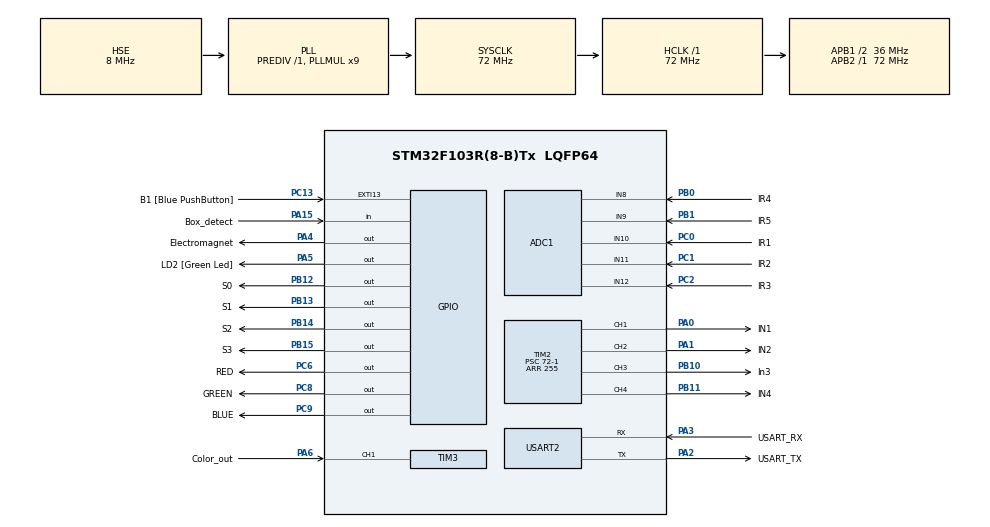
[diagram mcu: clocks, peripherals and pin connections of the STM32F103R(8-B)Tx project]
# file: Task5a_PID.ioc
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ADC1.Channel-0\#ChannelRegularConversion=ADC_CHANNEL_10
ADC1.Channel-1\#ChannelRegularConversion=ADC_CHANNEL_11
ADC1.Channel-2\#ChannelRegularConversion=ADC_CHANNEL_12
ADC1.Channel-3\#ChannelRegularConversion=ADC_CHANNEL_8
ADC1.Channel-4\#ChannelRegularConversion=ADC_CHANNEL_9
ADC1.ContinuousConvMode=ENABLE
ADC1.NbrOfConversion=5
ADC1.NbrOfConversionFlag=1
ADC1.Rank-0\#ChannelRegularConversion=1
ADC1.Rank-1\#ChannelRegularConversion=2
ADC1.Rank-2\#ChannelRegularConversion=3
ADC1.Rank-3\#ChannelRegularConversion=4
ADC1.Rank-4\#ChannelRegularConversion=5
ADC1.SamplingTime-0\#ChannelRegularConversion=ADC_SAMPLETIME_55CYCLES_5
ADC1.SamplingTime-1\#ChannelRegularConversion=ADC_SAMPLETIME_55CYCLES_5
ADC1.SamplingTime-2\#ChannelRegularConversion=ADC_SAMPLETIME_55CYCLES_5
ADC1.SamplingTime-3\#ChannelRegularConversion=ADC_SAMPLETIME_55CYCLES_5
ADC1.SamplingTime-4\#ChannelRegularConversion=ADC_SAMPLETIME_55CYCLES_5
ADC1.master=1
Dma.ADC1.0.Direction=DMA_PERIPH_TO_MEMORY
Dma.ADC1.0.Instance=DMA1_Channel1
Dma.ADC1.0.MemDataAlignment=DMA_MDATAALIGN_HALFWORD
Dma.ADC1.0.MemInc=DMA_MINC_ENABLE
Dma.ADC1.0.Mode=DMA_CIRCULAR
Dma.ADC1.0.PeriphDataAlignment=DMA_PDATAALIGN_HALFWORD
Dma.ADC1.0.PeriphInc=DMA_PINC_DISABLE
Dma.ADC1.0.Priority=DMA_PRIORITY_LOW
Dma.Request0=ADC1
Mcu.Family=STM32F1
Mcu.Name=STM32F103R(8-B)Tx
Mcu.Package=LQFP64
NVIC.ADC1_2_IRQn=true\:0\:0\:false\:false\:true\:true\:true\:true
NVIC.DMA1_Channel1_IRQn=true\:0\:0\:false\:false\:true\:false\:true\:true
NVIC.EXTI15_10_IRQn=true\:0\:0\:false\:false\:true\:true\:true\:true
NVIC.PriorityGroup=NVIC_PRIORITYGROUP_4
NVIC.TIM3_IRQn=true\:0\:0\:false\:false\:true\:true\:true\:true
PA0-WKUP.GPIO_Label=IN1
PA0-WKUP.Signal=S_TIM2_CH1_ETR
PA1.GPIO_Label=IN2
PA1.Signal=S_TIM2_CH2
PA13.GPIO_Label=TMS
PA13.Mode=Serial_Wire
PA13.Signal=SYS_JTMS-SWDIO
PA14.GPIO_Label=TCK
PA14.Mode=Serial_Wire
PA14.Signal=SYS_JTCK-SWCLK
PA15.GPIO_Label=Box_detect
PA15.Signal=GPIO_Input
PA2.GPIO_Label=USART_TX
PA2.GPIO_Mode=GPIO_MODE_AF_PP
PA2.GPIO_PuPd=GPIO_NOPULL
PA2.GPIO_Speed=GPIO_SPEED_FREQ_LOW
PA2.Mode=Asynchronous
PA2.Signal=USART2_TX
PA3.GPIO_Label=USART_RX
PA3.GPIO_Mode=GPIO_MODE_AF_PP
PA3.GPIO_PuPd=GPIO_NOPULL
PA3.GPIO_Speed=GPIO_SPEED_FREQ_LOW
PA3.Mode=Asynchronous
PA3.Signal=USART2_RX
PA4.GPIO_Label=Electromagnet
PA4.Signal=GPIO_Output
PA5.GPIO_Label=LD2 [Green Led]
PA5.GPIO_ModeDefaultOutputPP=GPIO_MODE_OUTPUT_PP
PA5.GPIO_PuPd=GPIO_NOPULL
PA5.GPIO_Speed=GPIO_SPEED_FREQ_LOW
PA5.Signal=GPIO_Output
PA6.GPIO_Label=Color_out
PA6.Signal=S_TIM3_CH1
PB0.GPIO_Label=IR4
PB0.Signal=ADCx_IN8
PB1.GPIO_Label=IR5
PB1.Signal=ADCx_IN9
PB10.GPIO_Label=In3
PB10.Signal=S_TIM2_CH3
PB11.GPIO_Label=IN4
PB11.Signal=S_TIM2_CH4
PB12.GPIO_Label=S0
PB12.Signal=GPIO_Output
PB13.GPIO_Label=S1
PB13.Signal=GPIO_Output
PB14.GPIO_Label=S2
PB14.Signal=GPIO_Output
PB15.GPIO_Label=S3
PB15.Signal=GPIO_Output
PB3.GPIO_Label=SWO
PB3.Signal=SYS_JTDO-TRACESWO
PC0.GPIO_Label=IR1
PC0.Signal=ADCx_IN10
PC1.GPIO_Label=IR2
PC1.Signal=ADCx_IN11
PC13-TAMPER-RTC.GPIO_Label=B1 [Blue PushButton]
PC13-TAMPER-RTC.GPIO_PuPd=GPIO_NOPULL
PC13-TAMPER-RTC.Signal=GPXTI13
PC14-OSC32_IN.Mode=LSE-External-Oscillator
PC14-OSC32_IN.Signal=RCC_OSC32_IN
PC15-OSC32_OUT.Mode=LSE-External-Oscillator
PC15-OSC32_OUT.Signal=RCC_OSC32_OUT
PC2.GPIO_Label=IR3
PC2.Signal=ADCx_IN12
PC6.GPIO_Label=RED
PC6.Signal=GPIO_Output
PC8.GPIO_Label=GREEN
PC8.Signal=GPIO_Output
PC9.GPIO_Label=BLUE
PC9.Signal=GPIO_Output
PD0-OSC_IN.Mode=HSE-External-Clock-Source
PD0-OSC_IN.Signal=RCC_OSC_IN
PD1-OSC_OUT.Mode=HSE-External-Clock-Source
PD1-OSC_OUT.Signal=RCC_OSC_OUT
ProjectManager.HeapSize=0x200
ProjectManager.StackSize=0x400
ProjectManager.TargetToolchain=STM32CubeIDE
RCC.ADCPresc=RCC_ADCPCLK2_DIV6
RCC.AHBFreq_Value=72000000
RCC.APB1CLKDivider=RCC_HCLK_DIV2
RCC.APB1Freq_Value=36000000
RCC.APB1TimFreq_Value=72000000
RCC.APB2Freq_Value=72000000
RCC.APB2TimFreq_Value=72000000
RCC.HCLKFreq_Value=72000000
RCC.PLLMUL=RCC_PLL_MUL9
RCC.PLLSourceVirtual=RCC_PLLSOURCE_HSE
RCC.RTCClockSelection=RCC_RTCCLKSOURCE_LSE
RCC.SYSCLKFreq_VALUE=72000000
RCC.SYSCLKSource=RCC_SYSCLKSOURCE_PLLCLK
RCC.USBFreq_Value=72000000
SH.ADCx_IN10.0=ADC1_IN10,IN10
SH.ADCx_IN11.0=ADC1_IN11,IN11
SH.ADCx_IN12.0=ADC1_IN12,IN12
SH.ADCx_IN8.0=ADC1_IN8,IN8
SH.ADCx_IN9.0=ADC1_IN9,IN9
SH.S_TIM2_CH1_ETR.0=TIM2_CH1,PWM Generation1 CH1
SH.S_TIM2_CH2.0=TIM2_CH2,PWM Generation2 CH2
SH.S_TIM2_CH3.0=TIM2_CH3,PWM Generation3 CH3
SH.S_TIM2_CH4.0=TIM2_CH4,PWM Generation4 CH4
SH.S_TIM3_CH1.0=TIM3_CH1,Input_Capture1_from_TI1
TIM2.Channel-PWM\ Generation1\ CH1=TIM_CHANNEL_1
TIM2.Channel-PWM\ Generation2\ CH2=TIM_CHANNEL_2
TIM2.Channel-PWM\ Generation3\ CH3=TIM_CHANNEL_3
TIM2.Channel-PWM\ Generation4\ CH4=TIM_CHANNEL_4
TIM2.Period=255
TIM2.Prescaler=72-1
TIM3.Channel-Input_Capture1_from_TI1=TIM_CHANNEL_1
USART2.VirtualMode=VM_ASYNC
board=NUCLEO-F103RB

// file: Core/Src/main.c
/* USER CODE BEGIN Header */
/**
 ******************************************************************************
 * @file : main.c
 * @brief : Main program body
 ******************************************************************************
 * @attention
 *
 * Copyright (c) 2026 STMicroelectronics.
 * All rights reserved.
 *
 * This software is licensed under terms that can be found in the LICENSE file
 * in the root directory of this software component.
 * If no LICENSE file comes with this software, it is provided AS-IS.
 *
 ******************************************************************************
 */
/* USER CODE END Header */

#include "main.h"

/* USER CODE BEGIN Includes */
#include "Color.h"
#include <math.h>
#include <stdbool.h>
#include <stdint.h>
#include <stdio.h>
#include <stdlib.h>
#include <string.h>

/* USER CODE END Includes */
#include "q_table10.h"

/* USER CODE BEGIN PTD */
typedef struct {
    int n_states;
    int n_actions;
    float lr;
    float gamma;
    float epsilon_start;
    float epsilon_min;
    float epsilon_decay;
    float epsilon;
    char* filename;
    float q_table[6][7];
    int action_list[7];
    float last_direction;
    int no_line_count;
    int stop_threshold;
    float prev_error;
    float smooth_error;
    float error_smoothing_alpha;
    float current_error;
    float error_sign;
    int prev_state;  // Added for dotted line continuity if needed
} QLearningController;

/* Private typedef -----------------------------------------------------------*/
/* USER CODE BEGIN PTD */
typedef enum {
  STATE_SEARCH_1,
  STATE_RETURN_1,
  STATE_BRANCH_OUT_1, // Navigate branch for Box 1
  STATE_BRANCH_RET_1, // Return from branch for Box 1
  STATE_TRANSITION_TO_SOURCE,
  STATE_SEARCH_2,
  STATE_RETURN_2,
  STATE_BRANCH_OUT_2, // Navigate branch for Box 2
  STATE_DONE
} RobotState;

typedef enum { BOX_NONE = 0, BOX_RED, BOX_GREEN, BOX_BLUE } InternalBoxColor;
/* USER CODE END PTD */

/* USER CODE BEGIN PD */
// PID Gains for Black Line on White Surface (BL mode)
#define KP 50.0f // Tuned: Between Snip(22) and Old(35)
#define KI 0.01f
#define KD 52.0f // Tuned: Between Snip(38) and Old(65)

// PID Gains for White Line on Black Surface (WL mode)
#define KP_WL 60.0f
#define KI_WL 0.11f
#define KD_WL 40.0f

// Speed Settings
// Speed Settings
#define BASE_SPEED 22
0    // Targeted for ~15s completion (2x snippet, 0.6x old)
#define BASE_SPEED_WL 140
#define TURN_BASE_SPEED 150
#define MAX_TURN_DIFF 250 // Limit set by User

// Turning Assistance
// (Handled by Mode Logic below)

// Control Loop
#define LOOP_DELAY_MS 1.5 // Faster loop for quicker reaction
#define INTEGRAL_LIMIT 20.0f
#define FILTER_ALPHA 0.5f // Reduced from 0.98 to 0.7 for FASTER response

// --- NEW SEPARATE TURN LOGIC CONSTANTS ---
// Black Line (BL) - Original "Perfect" values
#define SHARP_TURN_THRESH_BL 0.8f // Relaxed to snippet value
#define TURN_BOOST_BL 2.5f        // Reduced from 3.0 for stability
#define HARD_TURN_ERR_BL 0.6f
#define EXTREME_TURN_ERR_BL 1.8f
#define HARD_TURN_ADD_BL 100
#define HARD_TURN_SUB_BL 60
#define EXTREME_TURN_L_BL 220
#define EXTREME_TURN_R_BL -150

// White Line (WL) - Tuned for potentially different dynamics (Start with same,
// adjust here)
#define SHARP_TURN_THRESH_WL 0.8f
#define TURN_BOOST_WL 2.5f
#define HARD_TURN_ERR_WL 0.5f     // React sooner
#define EXTREME_TURN_ERR_WL 1.6f
#define HARD_TURN_ADD_WL 110 // Agreessive turn
#define HARD_TURN_SUB_WL 70
#define EXTREME_TURN_L_WL 230
#define EXTREME_TURN_R_WL -160

// ... (Rest of defines omitted for brevity in replace, but ensuring context
// matches if I can't replace scattered defines) Actually, sticking to the motor
// block replacement is safer if I can't guarantee define locations. I will just
// replace the Motor Logic block and assume I can update defines separately or
// just use literals/locals if needed. Wait, replace_file_content needs exact
// target match. I will update the DEFINES first.

// Line Detection
#define LINE_LOST_THRESHOLD 12.0f
#define BLACK_LINE_THRESH 13.0f

// Mode Switching Constants
#define SURFACE_THRESH 55.0f // Reduced from 80.0 for easier detection
#define MODE_DEBOUNCE_COUNT 15 // Reduced from 50 (400ms) to 12 (~96ms) for FAST switching

// RL Controller Macros
#define NUM_SENSORS 5
#define WHITE_THRESH 0.5f  // Threshold for white (high reflection)
#define FULL_WHITE_THRESH 0.85f
#define NO_LINE_SUM_THRESH 0.3f
#define NO_LINE_MAX_THRESH 0.1f
#define NO_LINE_TOLERANCE 5   // Tolerance for short no-line gaps (dotted lines)
#define BASE_SPEED_SCALE 5.0f  // Scale for PWM conversion

// Toggle between PID and RL (0 = PID, 1 = RL)
#define USE_RL_CONTROL 0

// Calibration 1: White Line on Black Surface (WL)
const uint16_t black_min_WL[5] = {3250, 3250, 3200, 3200, 1450};
const uint16_t white_max_WL[5] = {4095, 4095, 4095, 4095, 4095};

// Calibration 2: Black Line on White Surface (BL)
// Note: User requested separate calibration. Adjust these values for the White
// Surface!
const uint16_t black_min_BL[5] = {3450, 4095, 3680, 3920, 1450};
const uint16_t white_max_BL[5] = {4095, 4095, 4095, 4095, 4095};

const float weights[5] = {-2.0f, -1.0f, 0.0f, 1.0f, 2.0f};

/* USER CODE END PD */

ADC_HandleTypeDef hadc1;
DMA_HandleTypeDef hdma_adc1;

TIM_HandleTypeDef htim2;
TIM_HandleTypeDef htim3;

UART_HandleTypeDef huart2;

/* USER CODE BEGIN PV */
uint16_t adcBuffer[5];
float reflectance[5];
float voltages[5];
float integral = 0.0f;
float prev_error = 0.0f;
float filtered_position = 0.0f;
volatile uint8_t adc_complete = 0;

RobotState current_state = STATE_SEARCH_1;
bool is_black_line_mode = false;
InternalBoxColor picked_color = BOX_NONE;

static float prev_reflect[5] = {0.0f, 0.0f, 0.0f, 0.0f, 0.0f};

QLearningController ql; // Global instance for RL
/* USER CODE END PV */

void SystemClock_Config(void);
static void MX_GPIO_Init(void);
static void MX_DMA_Init(void);
static void MX_USART2_UART_Init(void);
static void MX_ADC1_Init(void);
static void MX_TIM2_Init(void);
static void MX_TIM2_Init(void);
static void MX_TIM3_Init(void);

// RL Function Prototypes
void init_QLearningController(QLearningController *self);
int Get_state(QLearningController *self, float values[NUM_SENSORS]);
int choose_action(QLearningController *self, int state);
void perform_action(int action, float *left_speed, float *right_speed);
/* USER CODE BEGIN PFP */
float NormalizeReflectance(int idx, uint16_t raw, bool is_black_line_mode);
float CalculatePosition(float *den_out, bool black_line);
float ComputePID(float error, float *integral, float *prev_error, float dt,
                 float kp, float ki, float kd);
void SetMotorSpeeds(int16_t left, int16_t right);
char *FloatToString(float value, int precision, char *buffer, int buf_size);
void Check_Surface_Mode(void);
InternalBoxColor Local_Color_Detect(void);
/* USER CODE END PFP */

/* USER CODE BEGIN 0 */
// Reimplement Color Logic Locally to avoid changing Color.h
InternalBoxColor Local_Color_Detect(void) {
  uint32_t r = Color_ReadRed();
  uint32_t g = Color_ReadGreen();
  uint32_t b = Color_ReadBlue();

  uint32_t r_n = r;
  uint32_t g_n = g * 2.9f;  // Same gain as Color.h
  uint32_t b_n = b * 1.99f; // Same gain as Color.h
  int diff = 110;           // Same diff

  // LEDs are manually controlled here if needed, or we rely on Color_Detect()
  // for visual
  Color_Detect();

  if ((r_n > g_n + diff - 100) && (r_n > b_n + diff - 95))
    return BOX_RED;
  else if ((g_n > r_n + diff) && (g_n > b_n + diff))
    return BOX_GREEN;
  else if ((b_n > r_n + diff) && (b_n > g_n + diff))
    return BOX_BLUE;

  return BOX_NONE;
}

float NormalizeReflectance(int idx, uint16_t raw, bool is_black_line_mode) {
  uint16_t min_v, max_v;

  if (is_black_line_mode) {
    // We are on White Surface (following Black Line)
    min_v = black_min_BL[idx];
    max_v = white_max_BL[idx];
  } else {
    // We are on Black Surface (following White Line)
    min_v = black_min_WL[idx];
    max_v = white_max_WL[idx];
  }

  if (raw <= min_v)
    return 0.0f;
  if (raw >= max_v)
    return 100.0f;
  return ((float)(raw - min_v) / (max_v - min_v)) * 100.0f;
}

void Check_Surface_Mode(void) {
  // Use Normalized Reflectance (0 = Black Reading, 100 = White Reading)
  // Average of outer sensors to determine background color
  float outer_avg = (reflectance[0] + reflectance[4]) / 2.0f;

  static uint32_t stable_count = 0;
  static bool potential_mode = false;

  // Logic:
  // If > THRESH (45) : White Surface (Background is White -> Black Line Mode)
  // If <= THRESH (45): Black Surface (Background is Black -> White Line Mode)
  bool detected_is_white_surface = (outer_avg > SURFACE_THRESH);

  // existing mode: is_black_line_mode (True = Black Line on White Surface)

  if (detected_is_white_surface != is_black_line_mode) {
    if (detected_is_white_surface == potential_mode) {
      stable_count++;
      if (stable_count > MODE_DEBOUNCE_COUNT) {
        // MODE CHANGE DETECTED!
        is_black_line_mode = detected_is_white_surface;
        stable_count = 0;

        // CRITICAL: Reset PID Memory so we don't carry error/integral
        integral = 0.0f;
        prev_error = 0.0f;

        // Indicate mode switch (optional flash or just UART)
        // HAL_GPIO_TogglePin(GPIOC, RED_Pin);
      }
    } else {
      potential_mode = detected_is_white_surface;
      stable_count = 0;
    }
  } else {
    stable_count = 0;
  }
}

float CalculatePosition(float *den_out, bool black_line) {
  float num = 0.0f, den = 0.0f;
  for (int i = 0; i < 5; i++) {
    float strength = black_line ? (100.0f - reflectance[i]) : reflectance[i];
    num += strength * weights[i];
    den += strength;
  }
  *den_out = den;

  float raw_pos = (den > 0.0f ? (num / den) : 0.0f);

  if (den < LINE_LOST_THRESHOLD) {
    raw_pos = filtered_position;
  }

  float delta = raw_pos - filtered_position;
  if (fabsf(delta) > 0.5f) {
    raw_pos = filtered_position + (delta > 0 ? 0.5f : -0.5f);
  }

  filtered_position =
      FILTER_ALPHA * filtered_position + (1.0f - FILTER_ALPHA) * raw_pos;
  return filtered_position;
}

void SetMotorSpeeds(int16_t left, int16_t right) {
  if (left < 0) {
    __HAL_TIM_SET_COMPARE(&htim2, TIM_CHANNEL_1, 0);
    __HAL_TIM_SET_COMPARE(&htim2, TIM_CHANNEL_2, (uint8_t)(-left));
  } else {
    __HAL_TIM_SET_COMPARE(&htim2, TIM_CHANNEL_1, (uint8_t)left);
    __HAL_TIM_SET_COMPARE(&htim2, TIM_CHANNEL_2, 0);
  }
  if (right < 0) {
    __HAL_TIM_SET_COMPARE(&htim2, TIM_CHANNEL_3, 0);
    __HAL_TIM_SET_COMPARE(&htim2, TIM_CHANNEL_4, (uint8_t)(-right));
  } else {
    __HAL_TIM_SET_COMPARE(&htim2, TIM_CHANNEL_3, (uint8_t)right);
    __HAL_TIM_SET_COMPARE(&htim2, TIM_CHANNEL_4, 0);
  }
}

char *FloatToString(float value, int precision, char *buffer, int buf_size) {
  if (precision < 0)
    precision = 0;
  if (precision > 6)
    precision = 6;
  bool negative = value < 0.0f;
  if (negative)
    value = -value;
  int int_part = (int)value;
  value -= int_part;
  int frac_part = (int)(value * powf(10.0f, precision) + 0.5f);
  if (negative)
    snprintf(buffer, buf_size, "-%d.%0*d", int_part, precision, frac_part);
  else
    snprintf(buffer, buf_size, "%d.%0*d", int_part, precision, frac_part);
  if (int_part == 0 && frac_part == 0 && negative) {
    buffer[0] = '0';
    buffer[1] = '.';
    for (int i = 0; i < precision; i++)
      buffer[2 + i] = '0';
    buffer[2 + precision] = '\0';
  }
  return buffer;
}

float ComputePID(float error, float *integral, float *prev_error, float dt,
                 float kp, float ki, float kd) {
  if (fabsf(error) > 1.5f)
    *integral = 0.0f;
  *integral += error * dt;
  if (*integral > INTEGRAL_LIMIT)
    *integral = INTEGRAL_LIMIT;
  else if (*integral < -INTEGRAL_LIMIT)
    *integral = -INTEGRAL_LIMIT;
  float derivative = (error - *prev_error) / dt;
  *prev_error = error;
  return kp * error + ki * (*integral) + kd * derivative;
}

void Do_Pickup_Routine() {
  SetMotorSpeeds(0, 0);
  HAL_GPIO_WritePin(Electromagnet_GPIO_Port, Electromagnet_Pin, GPIO_PIN_SET);
  picked_color = Local_Color_Detect(); // Read Color AND Turn on LEDs
  HAL_Delay(50);
  SetMotorSpeeds(-240, 240); // Spin 180 Fast
  HAL_Delay(350);
  SetMotorSpeeds(BASE_SPEED, BASE_SPEED); // Exit
  HAL_Delay(50);
}

void Do_Light_Blink(void) {
  while (1) {
    SetMotorSpeeds(0, 0);
    HAL_GPIO_WritePin(GPIOC, RED_Pin | GREEN_Pin | BLUE_Pin, GPIO_PIN_SET);
    HAL_Delay(500);
    HAL_GPIO_WritePin(GPIOC, RED_Pin | GREEN_Pin | BLUE_Pin, GPIO_PIN_RESET);
    HAL_Delay(500);
  }
}
/* USER CODE END 0 */

// --- RL Helper Functions Implementation ---
void init_QLearningController(QLearningController *self) {
    self->n_states = 6;
    self->n_actions = 7;
    self->lr = 0.2f;           // Learning rate (not used in inference)
    self->gamma = 0.95f;       // Discount factor
    self->epsilon_start = 0.5f;
    self->epsilon_min = 0.01f;
    self->epsilon_decay = 0.995f;
    self->epsilon = self->epsilon_start;
    self->filename = "q_table.pkl";

    // Load pre-trained Q-table
    for (int s = 0; s < 6; s++) {
        for (int a = 0; a < 7; a++) {
            self->q_table[s][a] = q_table[s][a];
        }
    }
    for (int i = 0; i < 7; i++) {
        self->action_list[i] = i;
    }
    self->last_direction = 1.0f;
    self->no_line_count = 0;
    self->stop_threshold = NO_LINE_TOLERANCE;
    self->prev_error = 0.0f;
    self->smooth_error = 0.0f;
    self->error_smoothing_alpha = 0.7f;
    self->prev_state = 2;
}

int Get_state(QLearningController *self, float values[NUM_SENSORS]) {
    float raw_sum = 0.0f;
    float max_val = 0.0f;
    for (int i = 0; i < NUM_SENSORS; i++) {
        raw_sum += values[i];
        if (values[i] > max_val) max_val = values[i];
    }

    if (raw_sum < NO_LINE_SUM_THRESH || max_val < NO_LINE_MAX_THRESH) {
        self->current_error = 2.0f;
        self->no_line_count++;
        self->smooth_error = self->error_smoothing_alpha * self->smooth_error + (1.0f - self->error_smoothing_alpha) * 2.0f;
        return 5;  // No line state
    } else {
        self->no_line_count = 0;  // Reset on detection
    }

    float weighted_sum = 0.0f;
    for (int i = 0; i < NUM_SENSORS; i++) {
        weighted_sum += (float)i * values[i];
    }
    float position = (raw_sum > 0.0f) ? (weighted_sum / raw_sum) : 2.0f;
    position += 0.1f;  // Small left bias offset
    float center = 2.0f;
    float error = center - position;
    self->current_error = fabsf(error);
    self->error_sign = (error > 0.0f) ? 1.0f : ((error < 0.0f) ? -1.0f : 0.0f);

    self->smooth_error = self->error_smoothing_alpha * self->smooth_error + (1.0f - self->error_smoothing_alpha) * self->current_error;

    float abs_error = fabsf(error);
    if (abs_error > 0.2f) {
        return (error > 0.0f) ? 4 : 0;
    } else if (abs_error > 0.03f) {
        return (error > 0.0f) ? 3 : 1;
    } else {
        return 2;
    }
}

int choose_action(QLearningController *self, int state) {
    self->epsilon *= self->epsilon_decay;
    self->epsilon = fmaxf(self->epsilon, self->epsilon_min);

    if (state == 0) return 4;
    if (state == 4) return 3;
    if (state == 1) return 2;
    if (state == 3) return 1;

    if (state == 5) {
        if (self->no_line_count < NO_LINE_TOLERANCE) {
            return 0;
        } else {
            if (rand() % 100 < 50) {
                return rand() % 5;
            } else {
                return (self->last_direction > 0.0f) ? 4 : 3;
            }
        }
    }

    float r = (float)rand() / RAND_MAX;
    if (r < self->epsilon) {
        return self->action_list[rand() % self->n_actions];
    } else {
        float max_q = self->q_table[state][0];
        int max_a = 0;
        for (int a = 1; a < self->n_actions; a++) {
            if (self->q_table[state][a] > max_q) {
                max_q = self->q_table[state][a];
                max_a = a;
            }
        }
        return max_a;
    }
    return 0;
}

void perform_action(int action, float *left_speed, float *right_speed) {
    float base_speed = 1.4f;
    float mild_adjust = 1.0f;
    float hard_adjust = 1.60f;

    switch (action) {
        case 0:
            *left_speed = base_speed;
            *right_speed = base_speed;
            break;
        case 1:
            *left_speed = base_speed - mild_adjust;
            *right_speed = base_speed + mild_adjust;
            break;
        case 2:
            *left_speed = base_speed + mild_adjust;
            *right_speed = base_speed - (mild_adjust) ;
            break;
        case 3:
            *left_speed = base_speed - hard_adjust;
            *right_speed = base_speed + hard_adjust;
            break;
        case 4:
            *left_speed = base_speed + hard_adjust;
            *right_speed = base_speed - (hard_adjust+10);
            break;
        case 5:
            *left_speed = 0.0f;
            *right_speed = 0.0f;
            break;
        case 6:
            *left_speed = base_speed * 1.2f;
            *right_speed = base_speed * 1.2f;
            break;
        default:
            *left_speed = 0.0f;
            *right_speed = 0.0f;
            break;
    }
}
// ------------------------------------------

int main(void) {
  HAL_Init();
  SystemClock_Config();
  MX_GPIO_Init();
  MX_DMA_Init();
  MX_USART2_UART_Init();
  MX_ADC1_Init();
  MX_TIM2_Init();
  MX_TIM3_Init();

  init_QLearningController(&ql); // Init RL Controller
  srand(HAL_GetTick());

  HAL_TIM_PWM_Start(&htim2, TIM_CHANNEL_1);
  HAL_TIM_PWM_Start(&htim2, TIM_CHANNEL_2);
  HAL_TIM_PWM_Start(&htim2, TIM_CHANNEL_3);
  HAL_TIM_PWM_Start(&htim2, TIM_CHANNEL_4);
  Color_Init(&htim3);
  HAL_ADC_Start_DMA(&hadc1, (uint32_t *)adcBuffer, 5);

  /* USER CODE BEGIN WHILE */
  while (1) {
    if (adc_complete) {
      adc_complete = 0;
      float den = 0.0f;
      float rl_input_values[5]; // Normalized 0-1 for RL

      for (int i = 0; i < 5; i++) {
        float raw = NormalizeReflectance(i, adcBuffer[i], is_black_line_mode);
        reflectance[i] =
            FILTER_ALPHA * raw + (1.0f - FILTER_ALPHA) * prev_reflect[i];
        prev_reflect[i] = reflectance[i];
        voltages[i] = (adcBuffer[i] / 4095.0f) * 3.3f;
        den += reflectance[i];

        // Prepare data for RL (Expects 0.0-1.0 float where 1.0 is White/Line?)
        // RL Code expected raw ADC / 4095.0f.
        // But our system creates `reflectance` 0-100 logic.
        // The provided RL code used: values[i] = (float)adc_buf[i] / 4095.0f;
        // So it likely worked on Raw Normalized or Raw voltages.
        // Let's use the Raw Normalized values scaled to 0-1 for RL compatibility
        rl_input_values[i] = reflectance[i] / 100.0f;
      }

      Check_Surface_Mode();

      // ... State Machine Logic (Search, Return, Branch) ...
      // We keep the state machine for high level logic (When to pick, drop, turn)
      // But we can SWAP the motor control part.

      static int node_count = 0;
      static uint32_t last_node_time = 0;
      static uint32_t branch_timer = 0;

      switch (current_state) {

      case STATE_SEARCH_1:
      case STATE_SEARCH_2:
        if (HAL_GPIO_ReadPin(Box_detect_GPIO_Port, Box_detect_Pin) ==
            GPIO_PIN_RESET) {
          Do_Pickup_Routine();
          node_count = 0;
          last_node_time = HAL_GetTick();
          current_state = (current_state == STATE_SEARCH_1) ? STATE_RETURN_1
                                                            : STATE_RETURN_2;
        }
        break;

      case STATE_RETURN_1:
      case STATE_RETURN_2:
        // CRITICAL: Only detect nodes if we have successfully switched to
        // White Surface (Black Line Mode).
        if (is_black_line_mode) {
          int black_count = 0;
          for (int i = 0; i < 5; i++)
            if (reflectance[i] < BLACK_LINE_THRESH)
              black_count++;

          if (black_count >= 3 && (HAL_GetTick() - last_node_time > 400)) {
            node_count++;
            last_node_time = HAL_GetTick();

            if (picked_color == BOX_BLUE && node_count == 2) {
              SetMotorSpeeds(BASE_SPEED, BASE_SPEED);
              HAL_Delay(0);
              SetMotorSpeeds(-200, 200);
              HAL_Delay(120); // LEFT Turn

              // Now Switch to Branch Navigation Phase
              current_state = (current_state == STATE_RETURN_1)
                                  ? STATE_BRANCH_OUT_1
                                  : STATE_BRANCH_OUT_2;
              branch_timer =
                  HAL_GetTick(); // Reset debounce for next node detection
            } else if (picked_color == BOX_GREEN && node_count == 3) {
              SetMotorSpeeds(BASE_SPEED, BASE_SPEED);
              HAL_Delay(200);
              SetMotorSpeeds(200, -200);
              HAL_Delay(180); // RIGHT Turn

              current_state = (current_state == STATE_RETURN_1)
                                  ? STATE_BRANCH_OUT_1
                                  : STATE_BRANCH_OUT_2;
              branch_timer = HAL_GetTick();
            }
          }
        }
        break;

      case STATE_BRANCH_OUT_1: // Box 1 Drop Logic
      case STATE_BRANCH_OUT_2: // Box 2 Drop Logic
        // We are on the branch line. Find the Drop Node.
        // Assume "Node" here matches the line color (Black Line Mode)
        if (is_black_line_mode) {
          int black_count = 0;
          for (int i = 0; i < 5; i++)
            if (reflectance[i] < BLACK_LINE_THRESH)
              black_count++;

          // Debounce the first second after turning to avoid detecting the turn
          // itself as a Node
          if (black_count >= 3 && (HAL_GetTick() - branch_timer > 400)) {
            // NODE DETECTED -> DROP
            SetMotorSpeeds(0, 0);
            HAL_GPIO_WritePin(Electromagnet_GPIO_Port, Electromagnet_Pin,
                              GPIO_PIN_RESET);

            if (current_state == STATE_BRANCH_OUT_2) {
              Do_Light_Blink(); // Stop for Box 2
            } else {
              // Box 1: Spin and Return
              HAL_Delay(150);

              // NEW: Turn off LEDs after dropping Box 1
              HAL_GPIO_WritePin(GPIOC, RED_Pin | GREEN_Pin | BLUE_Pin,
                                GPIO_PIN_RESET);

              SetMotorSpeeds(-240, 240);
              HAL_Delay(350); // Spin 180
              SetMotorSpeeds(BASE_SPEED, BASE_SPEED);
              HAL_Delay(150);
              current_state = STATE_BRANCH_RET_1;
              branch_timer = HAL_GetTick();
            }
          }
        }
        break;

      case STATE_BRANCH_RET_1:
        // Returning from Branch to Main Line
        // We look for intersection (All Black)
        if (is_black_line_mode) {
          int black_count = 0;
          for (int i = 0; i < 5; i++)
            if (reflectance[i] < BLACK_LINE_THRESH)
              black_count++;

          if (black_count >= 4 && (HAL_GetTick() - branch_timer > 400)) {
            // Intersection Reached
            SetMotorSpeeds(BASE_SPEED, BASE_SPEED);
            HAL_Delay(150); // Drive slightly past center

            // Turn back towards Source
            // If we turned LEFT to enter (Blue), we turn RIGHT to exit.
            // If we turned RIGHT to enter (Green), we turn LEFT to exit.
            if (picked_color == BOX_BLUE) {
              SetMotorSpeeds(230, -230);
              HAL_Delay(220); // Right
            } else {
              SetMotorSpeeds(-230, 230);
              HAL_Delay(220); // Left
            }

            current_state = STATE_TRANSITION_TO_SOURCE;
          }
        }
        break;

      case STATE_TRANSITION_TO_SOURCE:
        if (!is_black_line_mode) {
          static int transition_confirm = 0;
          transition_confirm++;
          if (transition_confirm > 50) {
            current_state = STATE_SEARCH_2;
            transition_confirm = 0;
          }
        }
        break;

      case STATE_DONE:
        Do_Light_Blink();
        break;
      }

      // Calculate PID outputs regardless (for logging or fallback)
      float pos_den = 0;
      float position = CalculatePosition(&pos_den, is_black_line_mode);
      float error = position;
      float dt = LOOP_DELAY_MS / 1000.0f;
      float kp = is_black_line_mode ? KP : KP_WL;
      float ki = is_black_line_mode ? KI : KI_WL;
      float kd = is_black_line_mode ? KD : KD_WL;
      float pid = ComputePID(error, &integral, &prev_error, dt, kp, ki, kd);

      int16_t l = 0, r = 0;

      #if USE_RL_CONTROL
          // --- RL CONTROL LOGIC ---
          int state = Get_state(&ql, rl_input_values);
          int action = choose_action(&ql, state);

          if (action == 1 || action == 3) ql.last_direction = -1.0f;
          else if (action == 2 || action == 4) ql.last_direction = 1.0f;

          float rl_l_speed, rl_r_speed;
          perform_action(action, &rl_l_speed, &rl_r_speed);

          // Convert RL output (approx 0-2.0) to PWM (0-255)
          int left_pwm = (int)((fabsf(rl_l_speed) / BASE_SPEED_SCALE) * 255.0f);
          int right_pwm = (int)((fabsf(rl_r_speed) / BASE_SPEED_SCALE) * 255.0f);

          // Apply direction
          l = (rl_l_speed >= 0) ? left_pwm : -left_pwm;
          r = (rl_r_speed >= 0) ? right_pwm : -right_pwm;

          ql.prev_state = state;
          // ------------------------
      #else
          // --- PID CONTROL LOGIC (Existing) ---
          float sharp_thresh = is_black_line_mode ? SHARP_TURN_THRESH_BL : SHARP_TURN_THRESH_WL;
          float turn_boost = is_black_line_mode ? TURN_BOOST_BL : TURN_BOOST_WL;
          float hard_err = is_black_line_mode ? HARD_TURN_ERR_BL : HARD_TURN_ERR_WL;
          float extreme_err = is_black_line_mode ? EXTREME_TURN_ERR_BL : EXTREME_TURN_ERR_WL;
          int hard_add = is_black_line_mode ? HARD_TURN_ADD_BL : HARD_TURN_ADD_WL;
          int hard_sub = is_black_line_mode ? HARD_TURN_SUB_BL : HARD_TURN_SUB_WL;
          int ext_l = is_black_line_mode ? EXTREME_TURN_L_BL : EXTREME_TURN_L_WL;
          int ext_r = is_black_line_mode ? EXTREME_TURN_R_BL : EXTREME_TURN_R_WL;

          bool sharp = fabsf(error) > sharp_thresh;
          if (sharp) pid *= turn_boost;

          int16_t base = sharp ? 70 : (is_black_line_mode ? BASE_SPEED : BASE_SPEED_WL);
          l = base + (int16_t)pid;
          r = base - (int16_t)pid;

          if (error > hard_err) { l += hard_add; r -= hard_sub; }
          if (error > extreme_err) { l = ext_l; r = ext_r; }
          if (error < -hard_err) { r += hard_add; l -= hard_sub; }

          if (l - r > MAX_TURN_DIFF) { l = base + MAX_TURN_DIFF / 2; r = base - MAX_TURN_DIFF / 2; }
          if (r - l > MAX_TURN_DIFF) { r = base + MAX_TURN_DIFF / 2; l = base - MAX_TURN_DIFF / 2; }
          // ------------------------------------
      #endif

      if (l > 255) l = 255;
      if (l < -255) l = -255;
      if (r > 255) r = 255;
      if (r < -255) r = -255;

      SetMotorSpeeds(l, r);

      char buf[128];
      snprintf(buf, sizeof(buf), "M:%s N:%d C:%d CTL:%s\r\n",
               is_black_line_mode ? "BLK" : "WHT", node_count, picked_color,
               USE_RL_CONTROL ? "RL " : "PID");
      HAL_UART_Transmit(&huart2, (uint8_t *)buf, strlen(buf), HAL_MAX_DELAY);
    }
    HAL_Delay(LOOP_DELAY_MS);
  }
}

void SystemClock_Config(void) {
  RCC_OscInitTypeDef RCC_OscInitStruct = {0};
  RCC_ClkInitTypeDef RCC_ClkInitStruct = {0};
  RCC_PeriphCLKInitTypeDef PeriphClkInit = {0};
  RCC_OscInitStruct.OscillatorType = RCC_OSCILLATORTYPE_HSE;
  RCC_OscInitStruct.HSEState = RCC_HSE_BYPASS;
  RCC_OscInitStruct.HSEPredivValue = RCC_HSE_PREDIV_DIV1;
  RCC_OscInitStruct.HSIState = RCC_HSI_ON;
  RCC_OscInitStruct.PLL.PLLState = RCC_PLL_ON;
  RCC_OscInitStruct.PLL.PLLSource = RCC_PLLSOURCE_HSE;
  RCC_OscInitStruct.PLL.PLLMUL = RCC_PLL_MUL9;
  HAL_RCC_OscConfig(&RCC_OscInitStruct);
  RCC_ClkInitStruct.ClockType = RCC_CLOCKTYPE_HCLK | RCC_CLOCKTYPE_SYSCLK |
                                RCC_CLOCKTYPE_PCLK1 | RCC_CLOCKTYPE_PCLK2;
  RCC_ClkInitStruct.SYSCLKSource = RCC_SYSCLKSOURCE_PLLCLK;
  RCC_ClkInitStruct.AHBCLKDivider = RCC_SYSCLK_DIV1;
  RCC_ClkInitStruct.APB1CLKDivider = RCC_HCLK_DIV2;
  RCC_ClkInitStruct.APB2CLKDivider = RCC_HCLK_DIV1;
  HAL_RCC_ClockConfig(&RCC_ClkInitStruct, FLASH_LATENCY_2);
  PeriphClkInit.PeriphClockSelection = RCC_PERIPHCLK_ADC;
  PeriphClkInit.AdcClockSelection = RCC_ADCPCLK2_DIV6;
  HAL_RCCEx_PeriphCLKConfig(&PeriphClkInit);
}

static void MX_ADC1_Init(void) {
  ADC_ChannelConfTypeDef sConfig = {0};
  hadc1.Instance = ADC1;
  hadc1.Init.ScanConvMode = ADC_SCAN_ENABLE;
  hadc1.Init.ContinuousConvMode = ENABLE;
  hadc1.Init.DiscontinuousConvMode = DISABLE;
  hadc1.Init.ExternalTrigConv = ADC_SOFTWARE_START;
  hadc1.Init.DataAlign = ADC_DATAALIGN_RIGHT;
  hadc1.Init.NbrOfConversion = 5;
  HAL_ADC_Init(&hadc1);
  sConfig.Channel = ADC_CHANNEL_10;
  sConfig.Rank = ADC_REGULAR_RANK_1;
  sConfig.SamplingTime = ADC_SAMPLETIME_55CYCLES_5;
  HAL_ADC_ConfigChannel(&hadc1, &sConfig);
  sConfig.Channel = ADC_CHANNEL_11;
  sConfig.Rank = ADC_REGULAR_RANK_2;
  HAL_ADC_ConfigChannel(&hadc1, &sConfig);
  sConfig.Channel = ADC_CHANNEL_12;
  sConfig.Rank = ADC_REGULAR_RANK_3;
  HAL_ADC_ConfigChannel(&hadc1, &sConfig);
  sConfig.Channel = ADC_CHANNEL_8;
  sConfig.Rank = ADC_REGULAR_RANK_4;
  HAL_ADC_ConfigChannel(&hadc1, &sConfig);
  sConfig.Channel = ADC_CHANNEL_9;
  sConfig.Rank = ADC_REGULAR_RANK_5;
  HAL_ADC_ConfigChannel(&hadc1, &sConfig);
}

static void MX_TIM2_Init(void) {
  TIM_MasterConfigTypeDef sMasterConfig = {0};
  TIM_OC_InitTypeDef sConfigOC = {0};
  htim2.Instance = TIM2;
  htim2.Init.Prescaler = 72 - 1;
  htim2.Init.CounterMode = TIM_COUNTERMODE_UP;
  htim2.Init.Period = 255;
  htim2.Init.ClockDivision = TIM_CLOCKDIVISION_DIV1;
  htim2.Init.AutoReloadPreload = TIM_AUTORELOAD_PRELOAD_DISABLE;
  HAL_TIM_PWM_Init(&htim2);
  sMasterConfig.MasterOutputTrigger = TIM_TRGO_RESET;
  sMasterConfig.MasterSlaveMode = TIM_MASTERSLAVEMODE_DISABLE;
  HAL_TIMEx_MasterConfigSynchronization(&htim2, &sMasterConfig);
  sConfigOC.OCMode = TIM_OCMODE_PWM1;
  sConfigOC.Pulse = 0;
  sConfigOC.OCPolarity = TIM_OCPOLARITY_HIGH;
  sConfigOC.OCFastMode = TIM_OCFAST_DISABLE;
  HAL_TIM_PWM_ConfigChannel(&htim2, &sConfigOC, TIM_CHANNEL_1);
  HAL_TIM_PWM_ConfigChannel(&htim2, &sConfigOC, TIM_CHANNEL_2);
  HAL_TIM_PWM_ConfigChannel(&htim2, &sConfigOC, TIM_CHANNEL_3);
  HAL_TIM_PWM_ConfigChannel(&htim2, &sConfigOC, TIM_CHANNEL_4);
  HAL_TIM_MspPostInit(&htim2);
}

static void MX_TIM3_Init(void) {
  TIM_MasterConfigTypeDef sMasterConfig = {0};
  TIM_IC_InitTypeDef sConfigIC = {0};
  htim3.Instance = TIM3;
  htim3.Init.Prescaler = 0;
  htim3.Init.CounterMode = TIM_COUNTERMODE_UP;
  htim3.Init.Period = 65535;
  htim3.Init.ClockDivision = TIM_CLOCKDIVISION_DIV1;
  htim3.Init.AutoReloadPreload = TIM_AUTORELOAD_PRELOAD_DISABLE;
  HAL_TIM_IC_Init(&htim3);
  sMasterConfig.MasterOutputTrigger = TIM_TRGO_RESET;
  sMasterConfig.MasterSlaveMode = TIM_MASTERSLAVEMODE_DISABLE;
  HAL_TIMEx_MasterConfigSynchronization(&htim3, &sMasterConfig);
  sConfigIC.ICPolarity = TIM_INPUTCHANNELPOLARITY_RISING;
  sConfigIC.ICSelection = TIM_ICSELECTION_DIRECTTI;
  sConfigIC.ICPrescaler = TIM_ICPSC_DIV1;
  sConfigIC.ICFilter = 0;
  HAL_TIM_IC_ConfigChannel(&htim3, &sConfigIC, TIM_CHANNEL_1);
}

static void MX_USART2_UART_Init(void) {
  huart2.Instance = USART2;
  huart2.Init.BaudRate = 115200;
  huart2.Init.WordLength = UART_WORDLENGTH_8B;
  huart2.Init.StopBits = UART_STOPBITS_1;
  huart2.Init.Parity = UART_PARITY_NONE;
  huart2.Init.Mode = UART_MODE_TX_RX;
  huart2.Init.HwFlowCtl = UART_HWCONTROL_NONE;
  huart2.Init.OverSampling = UART_OVERSAMPLING_16;
  HAL_UART_Init(&huart2);
}

static void MX_DMA_Init(void) {
  __HAL_RCC_DMA1_CLK_ENABLE();
  HAL_NVIC_SetPriority(DMA1_Channel1_IRQn, 0, 0);
  HAL_NVIC_EnableIRQ(DMA1_Channel1_IRQn);
}

static void MX_GPIO_Init(void) {
  GPIO_InitTypeDef GPIO_InitStruct = {0};
  __HAL_RCC_GPIOC_CLK_ENABLE();
  __HAL_RCC_GPIOD_CLK_ENABLE();
  __HAL_RCC_GPIOA_CLK_ENABLE();
  __HAL_RCC_GPIOB_CLK_ENABLE();

  HAL_GPIO_WritePin(GPIOA, Electromagnet_Pin | LD2_Pin, GPIO_PIN_RESET);
  HAL_GPIO_WritePin(GPIOB, S0_Pin | S1_Pin | S2_Pin | S3_Pin, GPIO_PIN_RESET);
  HAL_GPIO_WritePin(GPIOC, RED_Pin | GREEN_Pin | BLUE_Pin, GPIO_PIN_RESET);

  GPIO_InitStruct.Pin = B1_Pin;
  GPIO_InitStruct.Mode = GPIO_MODE_IT_RISING;
  GPIO_InitStruct.Pull = GPIO_NOPULL;
  HAL_GPIO_Init(B1_GPIO_Port, &GPIO_InitStruct);

  GPIO_InitStruct.Pin = Electromagnet_Pin | LD2_Pin;
  GPIO_InitStruct.Mode = GPIO_MODE_OUTPUT_PP;
  GPIO_InitStruct.Speed = GPIO_SPEED_FREQ_LOW;
  HAL_GPIO_Init(GPIOA, &GPIO_InitStruct);

  GPIO_InitStruct.Pin = S0_Pin | S1_Pin | S2_Pin | S3_Pin;
  GPIO_InitStruct.Mode = GPIO_MODE_OUTPUT_PP;
  GPIO_InitStruct.Speed = GPIO_SPEED_FREQ_LOW;
  HAL_GPIO_Init(GPIOB, &GPIO_InitStruct);

  GPIO_InitStruct.Pin = RED_Pin | GREEN_Pin | BLUE_Pin;
  GPIO_InitStruct.Mode = GPIO_MODE_OUTPUT_PP;
  GPIO_InitStruct.Speed = GPIO_SPEED_FREQ_LOW;
  HAL_GPIO_Init(GPIOC, &GPIO_InitStruct);

  GPIO_InitStruct.Pin = Box_detect_Pin;
  GPIO_InitStruct.Mode = GPIO_MODE_INPUT;
  GPIO_InitStruct.Pull = GPIO_NOPULL;
  HAL_GPIO_Init(Box_detect_GPIO_Port, &GPIO_InitStruct);

  HAL_NVIC_SetPriority(EXTI15_10_IRQn, 0, 0);
  HAL_NVIC_EnableIRQ(EXTI15_10_IRQn);
}

void HAL_ADC_ConvCpltCallback(ADC_HandleTypeDef *hadc) {
  if (hadc->Instance == ADC1)
    adc_complete = 1;
}

void Error_Handler(void) {
  __disable_irq();
  while (1)
    ;
}
